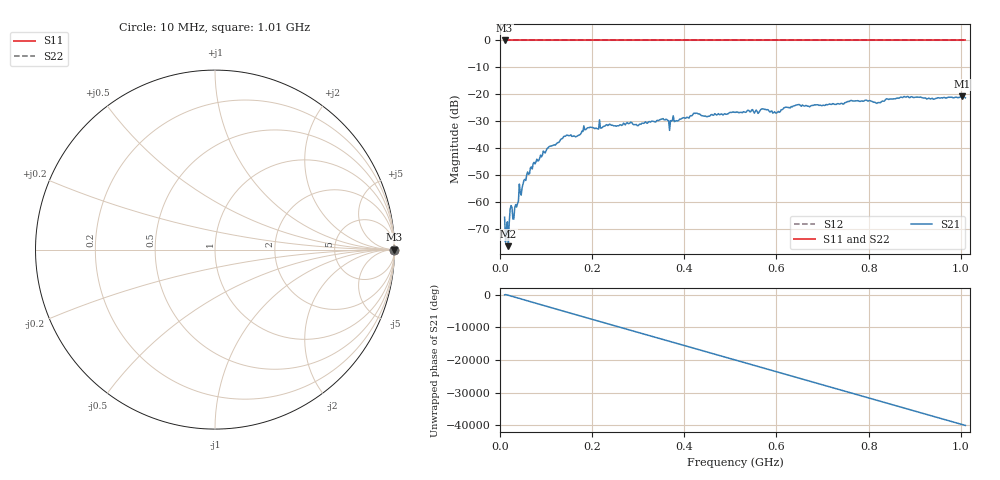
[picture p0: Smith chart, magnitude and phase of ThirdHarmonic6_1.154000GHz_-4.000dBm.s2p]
! 8/16/2025 11:29:14 AM
! C:\ANRITSUVNA\TEMP\TEMP.S2P
! CHANNEL.1
! TR.MEASUREMENT
! RAW.DATA
! RF.CORRECTION.OFF
! AVERAGING.OFF
! IF.BANDWIDTH: 5KHZ
! SWEEPTYPE:  FREQ.SWEEP(Linear)
! Reference Plane Port Info
! PORT:  PORT1  PORT2
! DISTANCE:  0  m  0  m
! TIME:  0  s  0  s
! PHASE.OFFSET:  0  deg.  0  deg.
! LOSS:  0  dB  0  dB
! REF.LOSS:  0  dB  0  dB
! REF.FREQ:  0  Hz  0  Hz
! Power Info
! POWER:  -20  dBm  -20  dBm
! EFF.POWER:  -20  dBm  -20  dBm
! SOURCE.ATTEN:  0  dB  0  dB
! TEST.ATTEN:  0  dB  0  dB
# GHZ S RI R 50.0
! FREQ.GHZ  S11RE  S11IM  S21RE  S21IM  S12RE  S12IM  S22RE  S22IM
!; PortSelection: Port_12
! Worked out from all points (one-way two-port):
!   501 points, 10 MHz to 1.01 GHz, reference 50 ohm
!   highest |S21| = -20.71 dB at 1.002 GHz (marker M1); lowest = -76.3 dB at 18 MHz (marker M2)
!   lowest |S11| = 0.0 dB at 10 MHz (marker M3)
!   |S11| at or under -10 dB: nowhere
!   |S22| runs from 0.0 to 0.0 dB; largest |S21 - S12| = 1.1
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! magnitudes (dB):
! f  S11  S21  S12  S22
! 10 MHz  0.0  -65.6  0.0  0.0
! 16 MHz  0.0  -67.3  0.0  0.0
! 18 MHz  0.0  -76.3  0.0  0.0
! 24 MHz  0.0  -61.3  0.0  0.0
! 32 MHz  0.0  -62.0  0.0  0.0
! 56 MHz  0.0  -51.9  0.0  0.0
! 76 MHz  0.0  -45.8  0.0  0.0
! 142 MHz  0.0  -35.5  0.0  0.0
! 168 MHz  0.0  -35.4  0.0  0.0
! 178 MHz  0.0  -33.6  0.0  0.0
! 344 MHz  0.0  -29.8  0.0  0.0
! 370 MHz  0.0  -29.7  0.0  0.0
! 424 MHz  0.0  -27.1  0.0  0.0
! 450 MHz  0.0  -28.3  0.0  0.0
! 510 MHz  0.0  -26.7  0.0  0.0
! 572 MHz  0.0  -25.4  0.0  0.0
! 596 MHz  0.0  -26.5  0.0  0.0
! 646 MHz  0.0  -23.9  0.0  0.0
! 678 MHz  0.0  -24.1  0.0  0.0
! 844 MHz  0.0  -21.9  0.0  0.0
! 1.002 GHz  0.0  -20.7  0.0  0.0
! 1.01 GHz  0.0  -21.3  0.0  0.0
